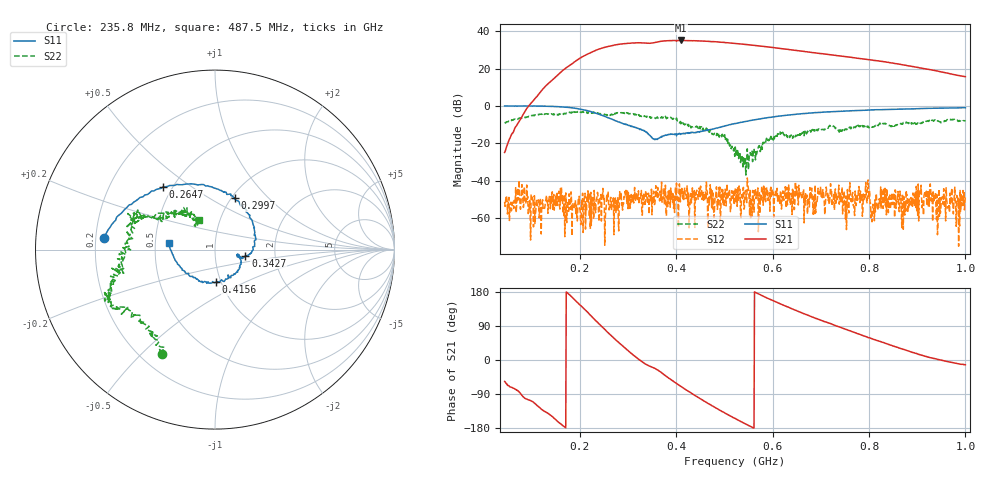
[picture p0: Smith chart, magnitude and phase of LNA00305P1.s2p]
! Created with skrf 1.9.0 (http://scikit-rf.org).
# Hz S RI R 50.0
!freq ReS11 ImS11 ReS21 ImS21 ReS12 ImS12 ReS22 ImS22
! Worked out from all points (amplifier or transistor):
!   958 points, 43.96 MHz to 1 GHz, reference 50 ohm
!   highest |S21| = 35.1 dB at 410.6 MHz (marker M1)
!   |S21| within 3 dB of that: 263 MHz to 575.7 MHz (312.7 MHz wide, 74.6 % of centre)
!   unconditionally stable (mu >= 1): 217.3 MHz to 295.6 MHz; 295.8 MHz to 369.6 MHz; 369.7 MHz to end of sweep (the widest 3 of 26)
!   at 202.8 MHz: K = 6.27, MAG = 33.3 dB, |S12| = -62.5 dB
!   at 522.5 MHz: K = 1.63, MAG = 34.1 dB, |S12| = -44.0 dB
!   at 1 GHz: K = 3.44, MAG = 23.7 dB, |S12| = -48.2 dB
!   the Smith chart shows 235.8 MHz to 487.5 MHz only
!   S11 on the Smith chart (normalised r, x): 235.8 MHz: 0.23, +0.05; 264.7 MHz: 0.44, +0.39; 299.7 MHz: 1.04, +0.66; 342.7 MHz: 1.40, -0.10; 415.6 MHz: 0.94, -0.35; 487.5 MHz: 0.59, +0.05
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4.3957e7  0.9247 -0.3733  0.0312 -0.0475  -0.00269 0.000128  0.2843 0.2096
1.11889e8  0.4794 -0.8674  -0.9424 -1.602  0.00203 0.0006  0.4123 -0.4121
1.57843e8  -0.1081 -0.9445  -7.295 -1.827  -0.00205 -0.000447  0.1074 -0.5811
2.03797e8  -0.6546 -0.4673  -15.81 12.6  0.00234 -0.00165  -0.1838 -0.6564
2.35765e8  -0.62 0.0639  -5.777 31.3  -0.00169 -0.00348  -0.2949 -0.5804
2.64736e8  -0.2911 0.3485  17.25 36.99  -0.00319 0.00148  -0.446 -0.3623
2.99701e8  0.1106 0.2862  43.16 20.26  0.000157 0.00178  -0.5793 -0.2412
3.2068e8  0.2197 0.1204  49.05 2.773  0.000781 0.00376  -0.5275 -0.1293
3.42658e8  0.169 -0.0336  46.23 -12.43  -0.00286 -0.0036  -0.5046 0.00611
3.62638e8  0.1302 -0.0285  46.37 -24.09  -0.00159 0.00327  -0.4571 0.0898
3.87613e8  0.1245 -0.1194  35.74 -43.24  0.000407 0.0019  -0.4342 0.1955
4.1059e8  0.0265 -0.1779  18.84 -53.49  0.003 0.00333  -0.3139 0.1792
4.15585e8  0.00369 -0.1814  15.19 -54.46  0.00233 0.00206  -0.2781 0.1925
4.5055e8  -0.1658 -0.1288  -11.98 -53.97  0.00202 0.00683  -0.1827 0.1924
4.87513e8  -0.2581 0.0394  -33.14 -39.39  0.00192 0.00107  -0.0872 0.163
5.22478e8  -0.2435 0.2322  -42.48 -20.41  0.0056 -0.00283  -0.0493 0.0625
5.58442e8  -0.1337 0.3949  -42.29 -1.39  0.00264 -0.00477  -0.0317 -0.00592
5.96404e8  0.0453 0.4944  -34.88 13.24  0.000578 -0.00661  -0.1291 -0.0823
6.81319e8  0.4511 0.4688  -11.01 24.63  -0.000445 -0.00626  -0.2196 -0.0663
7.68232e8  0.7067 0.2329  5.665 18.81  -0.000949 -0.00199  -0.2705 -0.00563
8.41159e8  0.8024 -0.00712  11.11 9.511  -0.000652 -0.00362  -0.2965 -0.0336
1e9  0.7285 -0.5239  5.927 -1.328  0.00313 0.00229  -0.343 0.225
